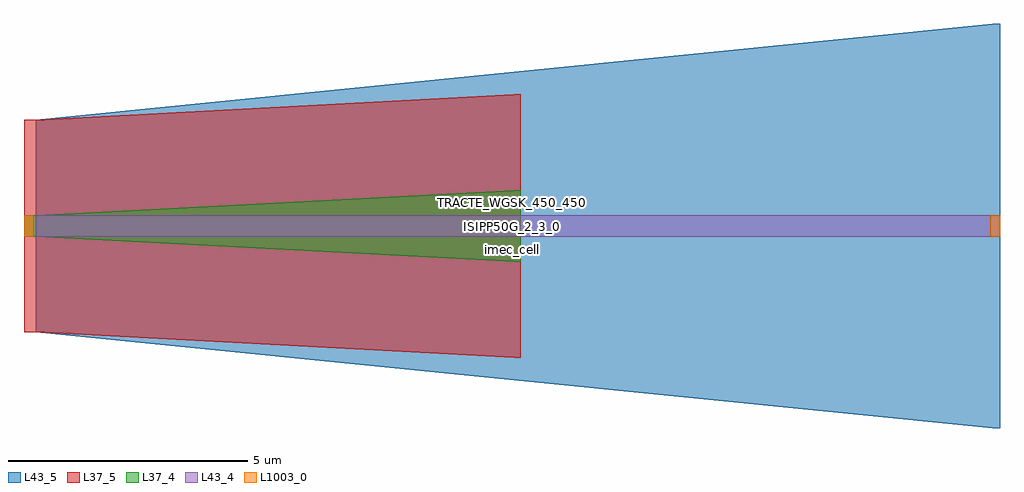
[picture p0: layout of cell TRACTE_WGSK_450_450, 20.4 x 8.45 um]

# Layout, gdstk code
import gdstk
lib = gdstk.Library(unit=1e-6, precision=1e-09)
def R(c, l, rs):  # rectangles x0, y0, x1, y1
    for r in rs: c.add(gdstk.rectangle(r[:2], r[2:], *l))
def P(c, l, *ps):  # polygons
    for p in ps: c.add(gdstk.Polygon(p, *l))
L37_4 = (37, 4)
L37_5 = (37, 5)
L43_4 = (43, 4)
L43_5 = (43, 5)
L1003_0 = (1003, 0)

tracte_wgsk_450_450_1 = lib.new_cell('TRACTE_WGSK_450_450_1')
R(tracte_wgsk_450_450_1, L37_4, [(0,-0.225,0.1,0.225)])
R(tracte_wgsk_450_450_1, L37_5, [(0,-2.225,0.1,2.225)])

tracte_wgsk_450_450 = lib.new_cell('TRACTE_WGSK_450_450')
R(tracte_wgsk_450_450, L37_4, [(-0.15,-0.225,0,0.225)])
P(tracte_wgsk_450_450, L37_4, [(10.1,-0.75),(0.1,-0.225),(0.1,0.225),(10.1,0.75),(10.23,0.75),(10.23,-0.75)])
R(tracte_wgsk_450_450, L37_5, [(-0.15,-2.225,0,2.225)])
P(tracte_wgsk_450_450, L37_5, [(10.1,-2.75),(0.1,-2.225),(0.1,2.225),(10.1,2.75),(10.23,2.75),(10.23,-2.75)])
R(tracte_wgsk_450_450, L43_4, [(0.1,-0.225,20.1,0.225), (20.1,-0.225,20.25,0.225)])
R(tracte_wgsk_450_450, L43_5, [(20.1,-4.225,20.25,4.225)])
P(tracte_wgsk_450_450, L43_5, [(20.1,-4.225),(0.1,-2.225),(0.1,2.225),(20.1,4.225)])
R(tracte_wgsk_450_450, L1003_0, [(-0.15,-0.225,0,0.225), (0,-0.225,0.05,0.225), (20.05,-0.225,20.1,0.225), (20.1,-0.225,20.25,0.225)])
tracte_wgsk_450_450.add(gdstk.Reference(tracte_wgsk_450_450_1, (0,0)))
tracte_wgsk_450_450.add(gdstk.Label('TRACTE_WGSK_450_450', (10.05,0.5), layer=1002, texttype=0))
tracte_wgsk_450_450.add(gdstk.Label('ISIPP50G_2_3_0', (10.05,0), layer=1002, texttype=0))
tracte_wgsk_450_450.add(gdstk.Label('imec_cell', (10.05,-0.5), layer=1002, texttype=0))

lib.write_gds('TRACTE_WGSK_450_450.gds')
